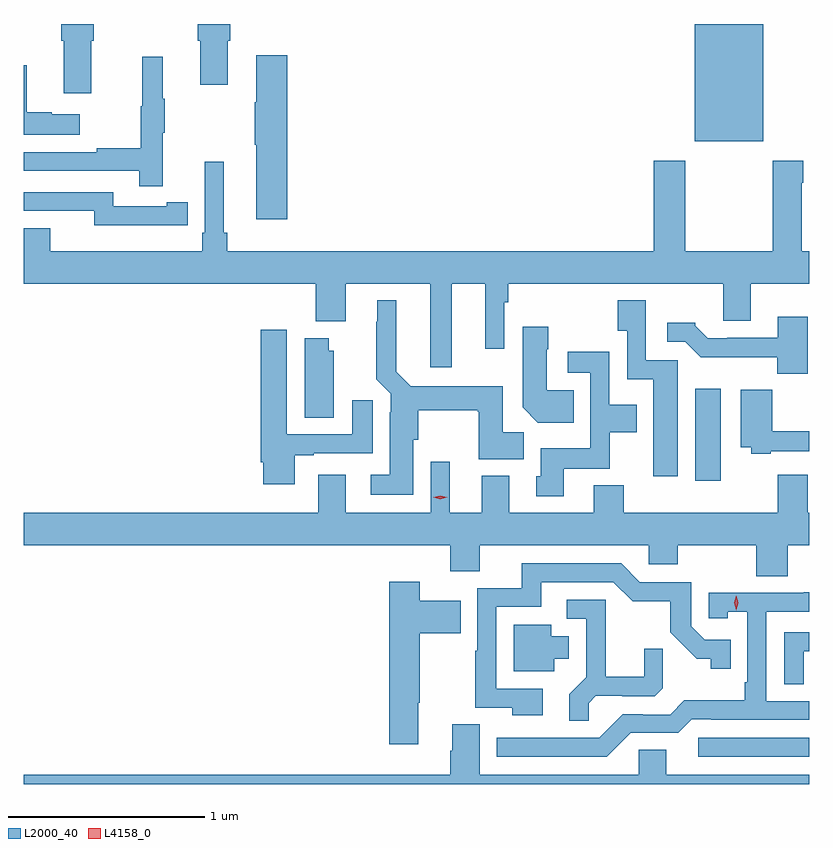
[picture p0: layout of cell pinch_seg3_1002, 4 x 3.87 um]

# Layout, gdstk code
import gdstk
lib = gdstk.Library(unit=1e-6, precision=1e-09)
def R(c, l, rs):  # rectangles x0, y0, x1, y1
    for r in rs: c.add(gdstk.rectangle(r[:2], r[2:], *l))
def P(c, l, *ps):  # polygons
    for p in ps: c.add(gdstk.Polygon(p, *l))
L2000_40 = (2000, 40)
L4158_0 = (4158, 0)

pinch_seg3_1002 = lib.new_cell('pinch_seg3_1002')
R(pinch_seg3_1002, L2000_40, [(486.825,666.54,487.39,666.636), (486.809,667.944,486.94,668.413), (486.806,669.674,487.156,670.27)])
P(pinch_seg3_1002, L2000_40, [(484.429,670.184),(484.442,670.184),(484.442,670.27),(484.277,670.27),(484.277,670.184),(484.289,670.184),(484.289,669.96),(484.429,669.96)],
  [(483.733,670.184),(483.746,670.184),(483.746,670.27),(483.581,670.27),(483.581,670.184),(483.593,670.184),(483.593,669.918),(483.733,669.918)],
  [(484.733,670.111),(484.574,670.111),(484.574,669.872),(484.567,669.872),(484.567,669.655),(484.574,669.655),(484.574,669.276),(484.733,669.276)],
  [(484.097,669.715),(484.108,669.715),(484.108,669.889),(484.097,669.889),(484.097,670.102),(483.994,670.102),(483.994,669.852),(483.987,669.852),(483.987,669.638),(483.763,669.638),(483.763,669.618),(483.39,669.618),(483.39,669.522),(483.979,669.522),(483.979,669.444),(484.097,669.444)],
  [(483.676,669.811),(483.533,669.811),(483.533,669.821),(483.406,669.821),(483.406,670.06),(483.39,670.06),(483.39,669.707),(483.676,669.707)],
  [(485.569,668.948),(485.741,668.948),(485.741,668.616),(485.838,668.616),(485.838,668.852),(485.858,668.852),(485.858,668.948),(486.953,668.948),(486.953,668.758),(487.093,668.758),(487.093,668.948),(487.39,668.948),(487.39,669.112),(487.351,669.112),(487.351,669.461),(487.359,669.461),(487.359,669.574),(487.204,669.574),(487.204,669.112),(486.759,669.112),(486.759,669.574),(486.599,669.574),(486.599,669.112),(484.427,669.112),(484.427,669.208),(484.408,669.208),(484.408,669.568),(484.311,669.568),(484.311,669.208),(484.298,669.208),(484.298,669.112),(483.526,669.112),(483.526,669.229),(483.39,669.229),(483.39,668.948),(484.877,668.948),(484.877,668.756),(485.029,668.756),(485.029,668.948),(485.459,668.948),(485.459,668.523),(485.569,668.523)],
  [(484.118,669.246),(484.226,669.246),(484.226,669.362),(484.118,669.362),(484.118,669.342),(483.846,669.342),(483.846,669.414),(483.39,669.414),(483.39,669.318),(483.75,669.318),(483.75,669.245),(484.118,669.245)],
  [(485.374,668.154),(485.4,668.154),(485.4,668.303),(485.701,668.303),(485.701,668.296),(485.708,668.296),(485.708,668.054),(485.935,668.054),(485.935,668.192),(485.83,668.192),(485.83,668.425),(485.361,668.425),(485.287,668.5),(485.287,668.863),(485.189,668.863),(485.189,668.753),(485.185,668.753),(485.185,668.462),(485.259,668.388),(485.259,668.294),(485.255,668.294),(485.255,667.975),(485.157,667.975),(485.157,667.874),(485.374,667.874)],
  [(486.721,668.559),(486.558,668.559),(486.558,668.863),(486.415,668.863),(486.415,668.707),(486.462,668.707),(486.462,668.462),(486.596,668.462),(486.596,667.968),(486.721,667.968)],
  [(487.382,668.779),(487.229,668.779),(487.229,668.673),(486.973,668.673),(486.973,668.67),(486.874,668.67),(486.81,668.734),(486.81,668.749),(486.666,668.749),(486.666,668.652),(486.759,668.652),(486.838,668.574),(487.227,668.574),(487.227,668.489),(487.382,668.489)],
  [(486.191,668.404),(486.052,668.404),(486.052,668.615),(486.06,668.615),(486.06,668.728),(485.93,668.728),(485.93,668.318),(486.008,668.24),(486.191,668.24)],
  [(484.771,668.073),(484.867,668.073),(484.867,668.085),(485.167,668.085),(485.167,668.353),(485.063,668.353),(485.063,668.181),(484.729,668.181),(484.729,668.713),(484.598,668.713),(484.598,668.038),(484.61,668.038),(484.61,667.926),(484.771,667.926)],
  [(484.969,668.607),(484.942,668.607),(484.942,668.671),(484.82,668.671),(484.82,668.266),(484.969,668.266)],
  [(486.139,668.006),(486.375,668.006),(486.375,668.192),(486.511,668.192),(486.511,668.332),(486.372,668.332),(486.372,668.602),(486.159,668.602),(486.159,668.493),(486.276,668.493),(486.276,668.11),(486.023,668.11),(486.023,667.968),(485.999,667.968),(485.999,667.866),(486.139,667.866)],
  [(487.195,668.094),(487.39,668.094),(487.39,668.195),(487.202,668.195),(487.202,668.407),(487.04,668.407),(487.04,668.114),(487.095,668.114),(487.095,668.082),(487.195,668.082)],
  [(487.28,667.616),(487.39,667.616),(487.39,667.78),(487.382,667.78),(487.382,667.975),(487.229,667.975),(487.229,667.78),(486.446,667.78),(486.446,667.921),(486.293,667.921),(486.293,667.78),(485.863,667.78),(485.863,667.969),(485.723,667.969),(485.723,667.78),(485.56,667.78),(485.56,668.041),(485.463,668.041),(485.463,667.78),(485.029,667.78),(485.029,667.975),(484.889,667.975),(484.889,667.78),(483.39,667.78),(483.39,667.616),(485.561,667.616),(485.561,667.483),(485.713,667.483),(485.713,667.616),(486.573,667.616),(486.573,667.518),(486.72,667.518),(486.72,667.616),(487.12,667.616),(487.12,667.459),(487.28,667.459)],
  [(486.034,666.885),(485.796,666.885),(485.796,667.302),(486.025,667.302),(486.025,667.428),(486.393,667.428),(486.492,667.33),(486.681,667.33),(486.681,667.174),(486.818,667.037),(486.888,667.037),(486.888,666.987),(486.989,666.987),(486.989,667.134),(486.858,667.134),(486.789,667.203),(486.789,667.428),(486.528,667.428),(486.432,667.524),(485.927,667.524),(485.927,667.398),(485.7,667.398),(485.7,667.079),(485.688,667.079),(485.688,666.789),(485.878,666.789),(485.878,666.749),(486.034,666.749)],
  [(485.398,666.815),(485.406,666.815),(485.406,667.168),(485.615,667.168),(485.615,667.333),(485.406,667.333),(485.406,667.429),(485.252,667.429),(485.252,666.603),(485.398,666.603)],
  [(486.48,666.66),(486.723,666.66),(486.792,666.729),(486.892,666.729),(486.892,666.726),(487.39,666.726),(487.39,666.822),(487.17,666.822),(487.17,667.278),(487.39,667.278),(487.39,667.377),(487.363,667.377),(487.363,667.374),(486.879,667.374),(486.879,667.245),(486.975,667.245),(486.975,667.277),(487.074,667.277),(487.074,666.919),(487.062,666.919),(487.062,666.826),(486.754,666.826),(486.681,666.753),(486.542,666.753),(486.542,666.756),(486.441,666.756),(486.321,666.636),(485.798,666.636),(485.798,666.54),(486.36,666.54)],
  [(486.267,666.812),(486.304,666.849),(486.438,666.849),(486.438,666.846),(486.603,666.846),(486.644,666.887),(486.644,667.089),(486.55,667.089),(486.55,666.946),(486.353,666.946),(486.353,667.338),(486.156,667.338),(486.156,667.242),(486.255,667.242),(486.255,666.943),(486.169,666.857),(486.169,666.721),(486.267,666.721)],
  [(486.091,667.037),(486.166,667.037),(486.166,667.153),(486.076,667.153),(486.076,667.21),(485.885,667.21),(485.885,666.974),(486.091,666.974)],
  [(487.362,667.077),(487.39,667.077),(487.39,667.173),(487.263,667.173),(487.263,666.907),(487.362,666.907)],
  [(487.39,666.448),(486.661,666.448),(486.661,666.575),(486.522,666.575),(486.522,666.448),(485.713,666.448),(485.713,666.704),(485.573,666.704),(485.573,666.57),(485.561,666.57),(485.561,666.448),(483.39,666.448),(483.39,666.4),(487.39,666.4)])
P(pinch_seg3_1002, L4158_0, [(487.019,667.286),(487.019,667.287),(487.009,667.323),(487.019,667.359),(487.019,667.359),(487.019,667.359),(487.029,667.323),(487.019,667.287)],
  [(485.51,667.849),(485.475,667.859),(485.475,667.859),(485.475,667.86),(485.51,667.869),(485.546,667.86),(485.546,667.859),(485.546,667.859)])

lib.write_gds('pinch_seg3_1002.gds')
